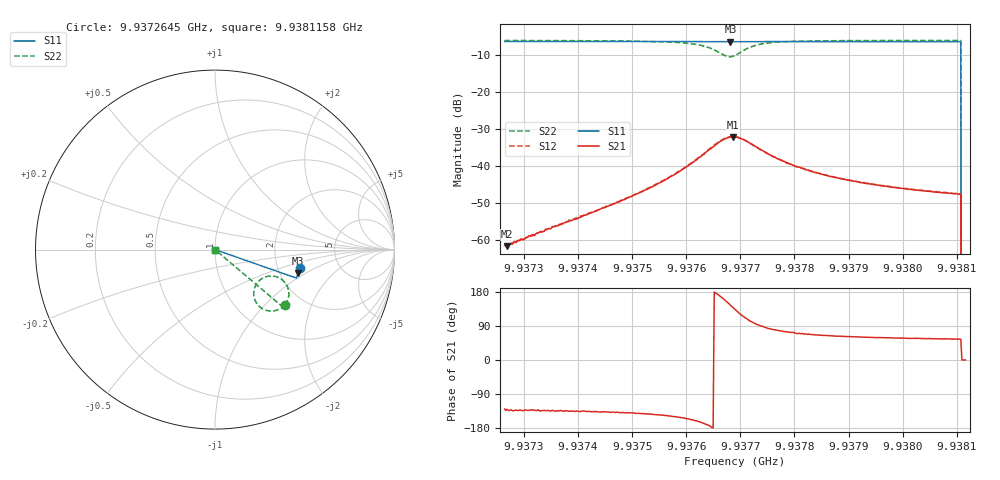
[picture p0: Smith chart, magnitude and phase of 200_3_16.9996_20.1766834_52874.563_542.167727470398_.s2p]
#  HZ  S  RI  R  50.00
! Rohde & Schwarz Vector Network Analyzer
! Rohde-Schwarz,ZNB20-2Port,1311601062101988,3.16
! Created: UTC 3/20/2024, 11:01:02 PM
! freq[Hz]  re:S11  im:S11  re:S21  im:S21  re:S12  im:S12  re:S22  im:S22
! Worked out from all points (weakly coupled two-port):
!   401 points, 9.9372645 GHz to 9.9381158 GHz, reference 50 ohm
!   highest |S21| = -32.13 dB at 9.9376859 GHz (marker M1); lowest = -61.6 dB at 9.9372688 GHz (marker M2)
!   lowest |S11| = -6.4 dB at 9.9376816 GHz (marker M3), VSWR 2.84, Z = 125 - j42.4 ohm
!   |S11| at or under -10 dB: 9.9381073 GHz to end of sweep
!   |S22| runs from - to -6.0 dB; largest |S21 - S12| = 0.0011
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9.93726453e9  0.4723 -0.1042  -0.000541 -0.000655  -0.000584 -0.000598  0.3909 -0.308
9.93726878e9  0.4722 -0.1046  -0.000529 -0.000636  -0.000615 -0.000615  0.3907 -0.3083
9.93740711e9  0.4693 -0.1139  -0.00148 -0.00147  -0.00152 -0.00147  0.3761 -0.321
9.93749436e9  0.4674 -0.1198  -0.00288 -0.00245  -0.00295 -0.00246  0.3596 -0.3311
9.93754969e9  0.4659 -0.1236  -0.0048 -0.0034  -0.00494 -0.00339  0.3401 -0.3389
9.93759438e9  0.4647 -0.1267  -0.0081 -0.00415  -0.00836 -0.00406  0.3104 -0.3426
9.93763481e9  0.4629 -0.1293  -0.0147 -0.00301  -0.015 -0.00278  0.2574 -0.325
9.93766248e9  0.4615 -0.1304  -0.021 0.00428  -0.0213 0.00487  0.2165 -0.2587
9.93767312e9  0.461 -0.1306  -0.0215 0.00955  -0.0216 0.0104  0.2202 -0.2151
9.93768163e9  0.4608 -0.1305  -0.0201 0.0143  -0.02 0.0151  0.2389 -0.1811
9.93768588e9  0.4609 -0.1306  -0.0186 0.0163  -0.0184 0.0172  0.2533 -0.1673
9.93769014e9  0.4609 -0.1305  -0.017 0.0179  -0.0166 0.0189  0.2699 -0.157
9.93770078e9  0.4613 -0.1308  -0.0118 0.0204  -0.0112 0.021  0.3141 -0.1469
9.93771568e9  0.4617 -0.1317  -0.00524 0.0201  -0.0048 0.0203  0.3635 -0.1607
9.93773909e9  0.462 -0.1336  0.000162 0.0164  0.000615 0.0164  0.4 -0.1991
9.93778803e9  0.4613 -0.1373  0.0031 0.0106  0.00324 0.0104  0.4113 -0.252
9.93783272e9  0.4603 -0.1406  0.00327 0.00774  0.00347 0.00772  0.4068 -0.2758
9.93788805e9  0.459 -0.1443  0.0031 0.00594  0.00321 0.00597  0.4001 -0.2924
9.9379753e9  0.4566 -0.1501  0.00276 0.00449  0.00287 0.00449  0.3912 -0.3074
9.93810299e9  0.4534 -0.1585  0.00238 0.00341  0.00251 0.00344  0.3807 -0.3213
9.93811363e9  0 0  0 0  0 0  0 0
9.93811576e9  0 0  0 0  0 0  0 0
